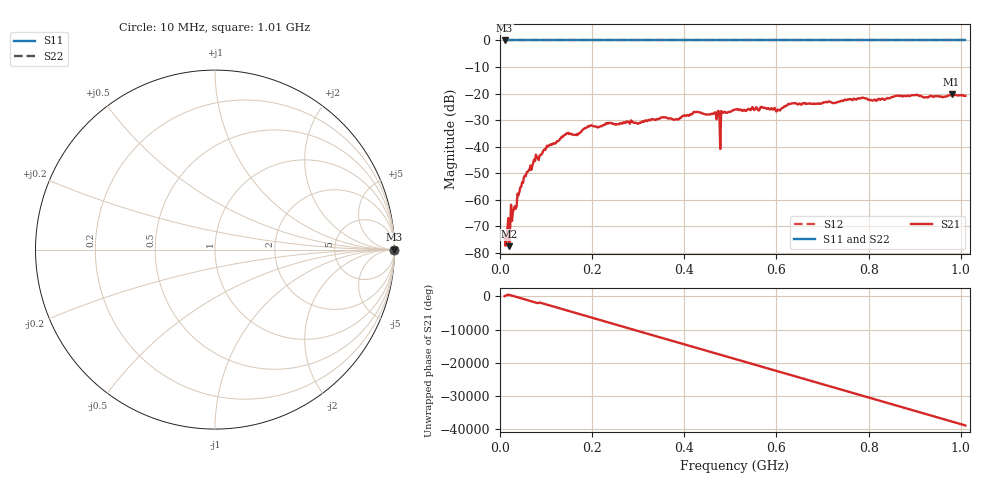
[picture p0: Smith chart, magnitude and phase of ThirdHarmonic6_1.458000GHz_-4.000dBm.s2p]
! 8/16/2025 4:56:04 PM
! C:\ANRITSUVNA\TEMP\TEMP.S2P
! CHANNEL.1
! TR.MEASUREMENT
! RAW.DATA
! RF.CORRECTION.OFF
! AVERAGING.OFF
! IF.BANDWIDTH: 5KHZ
! SWEEPTYPE:  FREQ.SWEEP(Linear)
! Reference Plane Port Info
! PORT:  PORT1  PORT2
! DISTANCE:  0  m  0  m
! TIME:  0  s  0  s
! PHASE.OFFSET:  0  deg.  0  deg.
! LOSS:  0  dB  0  dB
! REF.LOSS:  0  dB  0  dB
! REF.FREQ:  0  Hz  0  Hz
! Power Info
! POWER:  -20  dBm  -20  dBm
! EFF.POWER:  -20  dBm  -20  dBm
! SOURCE.ATTEN:  0  dB  0  dB
! TEST.ATTEN:  0  dB  0  dB
# GHZ S RI R 50.0
! FREQ.GHZ  S11RE  S11IM  S21RE  S21IM  S12RE  S12IM  S22RE  S22IM
!; PortSelection: Port_12
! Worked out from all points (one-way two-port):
!   501 points, 10 MHz to 1.01 GHz, reference 50 ohm
!   highest |S21| = -20.35 dB at 980 MHz (marker M1); lowest = -77.6 dB at 20 MHz (marker M2)
!   lowest |S11| = 0.0 dB at 10 MHz (marker M3)
!   |S11| at or under -10 dB: nowhere
!   |S22| runs from 0.0 to 0.0 dB; largest |S21 - S12| = 1.1
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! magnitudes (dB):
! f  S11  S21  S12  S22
! 10 MHz  0.0  -73.9  0.0  0.0
! 16 MHz  0.0  -71.3  0.0  0.0
! 20 MHz  0.0  -77.6  0.0  0.0
! 48 MHz  0.0  -53.5  0.0  0.0
! 76 MHz  0.0  -45.5  0.0  0.0
! 144 MHz  0.0  -35.1  0.0  0.0
! 178 MHz  0.0  -33.9  0.0  0.0
! 196 MHz  0.0  -32.2  0.0  0.0
! 344 MHz  0.0  -29.7  0.0  0.0
! 384 MHz  0.0  -29.7  0.0  0.0
! 424 MHz  0.0  -27.1  0.0  0.0
! 472 MHz  0.0  -26.9  0.0  0.0
! 474 MHz  0.0  -26.5  0.0  0.0
! 482 MHz  0.0  -26.8  0.0  0.0
! 484 MHz  0.0  -27.3  0.0  0.0
! 510 MHz  0.0  -26.0  0.0  0.0
! 604 MHz  0.0  -26.1  0.0  0.0
! 630 MHz  0.0  -23.9  0.0  0.0
! 678 MHz  0.0  -23.9  0.0  0.0
! 844 MHz  0.0  -21.8  0.0  0.0
! 980 MHz  0.0  -20.4  0.0  0.0
! 1.01 GHz  0.0  -20.9  0.0  0.0
